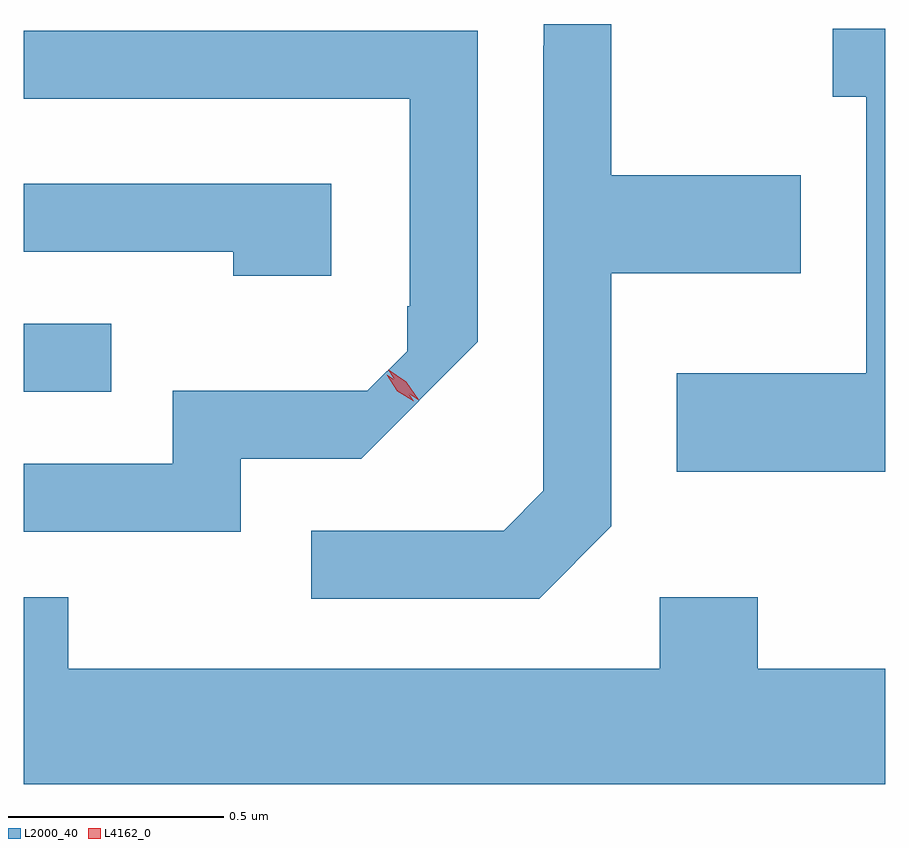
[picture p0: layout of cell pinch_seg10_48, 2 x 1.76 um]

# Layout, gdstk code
import gdstk
lib = gdstk.Library(unit=1e-6, precision=1e-09)
def R(c, l, rs):  # rectangles x0, y0, x1, y1
    for r in rs: c.add(gdstk.rectangle(r[:2], r[2:], *l))
def P(c, l, *ps):  # polygons
    for p in ps: c.add(gdstk.Polygon(p, *l))
L2000_40 = (2000, 40)
L4162_0 = (4162, 0)

pinch_seg10_48 = lib.new_cell('pinch_seg10_48')
R(pinch_seg10_48, L2000_40, [(595.015,2188.086,595.218,2188.244)])
P(pinch_seg10_48, L2000_40, [(596.379,2187.774),(596.379,2188.361),(596.819,2188.361),(596.819,2188.589),(596.379,2188.589),(596.379,2188.94),(596.222,2188.94),(596.222,2188.89),(596.221,2188.89),(596.221,2187.857),(596.129,2187.764),(595.683,2187.764),(595.683,2187.606),(596.212,2187.606)],
  [(597.015,2188.929),(596.893,2188.929),(596.893,2188.771),(596.971,2188.771),(596.971,2188.129),(596.531,2188.129),(596.531,2187.901),(597.015,2187.901)],
  [(595.519,2187.931),(595.798,2187.931),(596.069,2188.203),(596.069,2188.924),(595.015,2188.924),(595.015,2188.766),(595.911,2188.766),(595.911,2188.285),(595.905,2188.285),(595.905,2188.181),(595.813,2188.089),(595.361,2188.089),(595.361,2187.919),(595.015,2187.919),(595.015,2187.761),(595.519,2187.761)],
  [(595.729,2188.569),(595.015,2188.569),(595.015,2188.411),(595.501,2188.411),(595.501,2188.356),(595.729,2188.356)],
  [(597.015,2187.444),(596.719,2187.444),(596.719,2187.609),(596.491,2187.609),(596.491,2187.444),(595.119,2187.444),(595.119,2187.609),(595.015,2187.609),(595.015,2187.176),(597.015,2187.176)])
P(pinch_seg10_48, L4162_0, [(595.931,2188.068),(595.889,2188.095),(595.861,2188.137),(595.861,2188.138),(595.862,2188.138),(595.903,2188.11),(595.932,2188.068),(595.932,2188.068)],
  [(595.92,2188.064),(595.882,2188.088),(595.858,2188.126),(595.858,2188.126),(595.858,2188.126),(595.896,2188.102),(595.92,2188.064),(595.92,2188.064)])

lib.write_gds('pinch_seg10_48.gds')
